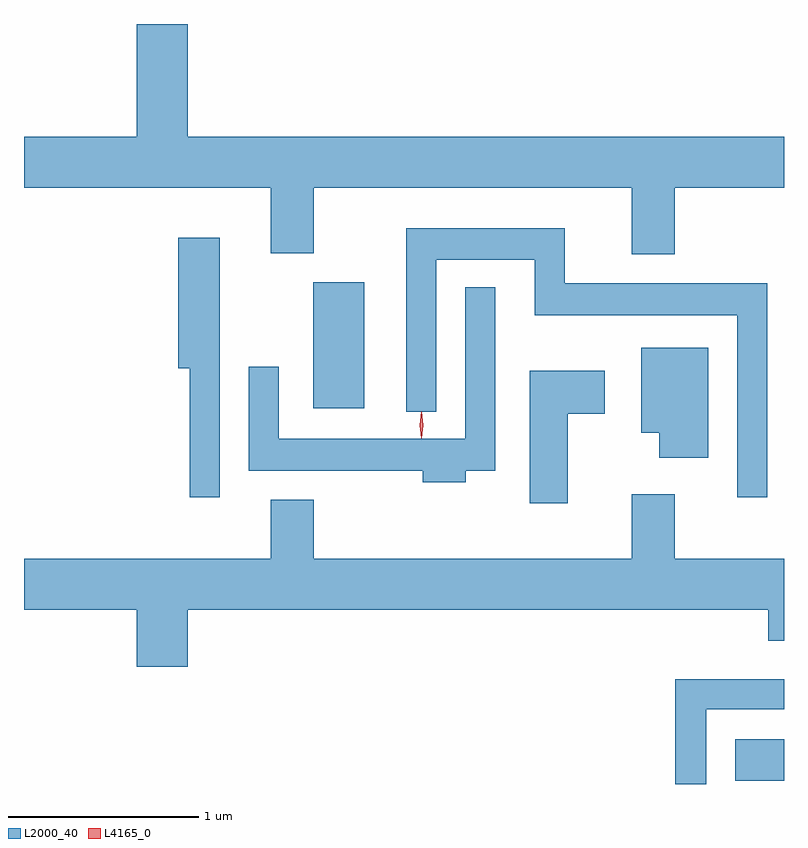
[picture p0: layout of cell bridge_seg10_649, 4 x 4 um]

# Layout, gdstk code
import gdstk
lib = gdstk.Library(unit=1e-6, precision=1e-09)
def R(c, l, rs):  # rectangles x0, y0, x1, y1
    for r in rs: c.add(gdstk.rectangle(r[:2], r[2:], *l))
def P(c, l, *ps):  # polygons
    for p in ps: c.add(gdstk.Polygon(p, *l))
L2000_40 = (2000, 40)
L4165_0 = (4165, 0)

bridge_seg10_649 = lib.new_cell('bridge_seg10_649')
R(bridge_seg10_649, L2000_40, [(997.446,2101.916,997.703,2102.134), (995.226,2103.876,995.494,2104.539)])
P(bridge_seg10_649, L2000_40, [(997.129,2105.036),(997.703,2105.036),(997.703,2105.304),(994.564,2105.304),(994.564,2105.898),(994.296,2105.898),(994.296,2105.304),(993.703,2105.304),(993.703,2105.036),(995.001,2105.036),(995.001,2104.691),(995.229,2104.691),(995.229,2105.036),(996.901,2105.036),(996.901,2104.686),(997.129,2104.686)],
  [(997.614,2104.534),(996.549,2104.534),(996.549,2104.824),(995.716,2104.824),(995.716,2103.858),(995.874,2103.858),(995.874,2104.656),(996.391,2104.656),(996.391,2104.366),(997.456,2104.366),(997.456,2103.408),(997.614,2103.408)],
  [(994.734,2104.774),(994.516,2104.774),(994.516,2104.086),(994.576,2104.086),(994.576,2103.408),(994.734,2103.408)],
  [(996.029,2103.546),(996.184,2103.546),(996.184,2104.513),(996.026,2104.513),(996.026,2103.714),(995.044,2103.714),(995.044,2104.093),(994.886,2104.093),(994.886,2103.546),(995.801,2103.546),(995.801,2103.486),(996.029,2103.486)],
  [(997.304,2104.194),(996.951,2104.194),(996.951,2103.746),(997.046,2103.746),(997.046,2103.616),(997.304,2103.616)],
  [(996.564,2103.846),(996.759,2103.846),(996.759,2104.074),(996.366,2104.074),(996.366,2103.376),(996.564,2103.376)],
  [(994.564,2102.816),(997.621,2102.816),(997.621,2102.651),(997.703,2102.651),(997.703,2103.084),(997.129,2103.084),(997.129,2103.424),(996.901,2103.424),(996.901,2103.084),(995.229,2103.084),(995.229,2103.394),(995.001,2103.394),(995.001,2103.084),(993.703,2103.084),(993.703,2102.816),(994.296,2102.816),(994.296,2102.516),(994.564,2102.516)],
  [(997.294,2102.291),(997.703,2102.291),(997.703,2102.449),(997.131,2102.449),(997.131,2101.898),(997.294,2101.898)])
P(bridge_seg10_649, L4165_0, [(995.794,2103.717),(995.785,2103.786),(995.794,2103.856),(995.795,2103.856),(995.796,2103.856),(995.805,2103.786),(995.796,2103.717),(995.795,2103.717)],
  [(995.795,2103.719),(995.795,2103.72),(995.785,2103.786),(995.795,2103.852),(995.795,2103.853),(995.796,2103.852),(995.805,2103.786),(995.796,2103.72)])

lib.write_gds('bridge_seg10_649.gds')
